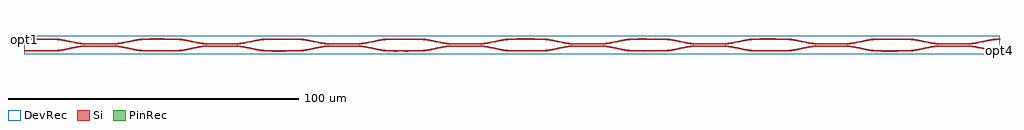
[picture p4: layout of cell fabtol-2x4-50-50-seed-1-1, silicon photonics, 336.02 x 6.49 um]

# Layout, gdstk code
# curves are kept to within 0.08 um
import gdstk
lib = gdstk.Library(unit=1e-6, precision=1e-09)
def R(c, l, rs):  # rectangles x0, y0, x1, y1
    for r in rs: c.add(gdstk.rectangle(r[:2], r[2:], *l))
def P(c, l, *ps):  # polygons
    for p in ps: c.add(gdstk.Polygon(p, *l))
Si = (1, 0)
PinRec = (1, 10)
DevRec = (68, 0)

layer_0_0_phase_sec_0_16 = lib.new_cell('layer-0_0_phase_sec_0$16')
P(layer_0_0_phase_sec_0_16, Si, [(2.372,-0.228),(0,-0.225),(0,0.225),(10,0.225),(10,-0.225)])

dc_arm_down_16 = lib.new_cell('dc_arm_down$16')
R(dc_arm_down_16, Si, [(12,-0.55,20,-0.1)])
P(dc_arm_down_16, Si, [(32,-2.225),(30.861,-2.188),(29.344,-2.033),(22.966,-0.793),(21.481,-0.613),(20,-0.55),(20,-0.1),(21.139,-0.137),(22.656,-0.292),(29.034,-1.532),(30.519,-1.712),(32,-1.775)],
  [(0,-2.225),(0,-1.775),(1.481,-1.712),(2.966,-1.532),(9.344,-0.292),(10.861,-0.137),(12,-0.1),(12,-0.55),(10.519,-0.613),(9.034,-0.793),(2.656,-2.033),(1.139,-2.188)])

dc_arm_up_16 = lib.new_cell('dc_arm_up$16')
R(dc_arm_up_16, Si, [(12,0.1,20,0.55)])
P(dc_arm_up_16, Si, [(20,0.1),(20,0.55),(21.481,0.613),(22.966,0.793),(29.344,2.033),(30.861,2.188),(32,2.225),(32,1.775),(30.519,1.712),(29.034,1.532),(22.656,0.292),(21.139,0.137)],
  [(12,0.1),(10.861,0.137),(9.344,0.292),(2.966,1.532),(1.481,1.712),(0,1.775),(0,2.225),(1.139,2.188),(2.656,2.033),(9.034,0.793),(10.519,0.613),(12,0.55)])

dc_16 = lib.new_cell('dc$16')
dc_16.add(gdstk.Reference(dc_arm_down_16, (0,0)))
dc_16.add(gdstk.Reference(dc_arm_up_16, (0,0)))

layer_3_0_phase_sec_1_16 = lib.new_cell('layer-3_0_phase_sec_1$16')
P(layer_3_0_phase_sec_1_16, Si, [(5.964,-0.234),(0,-0.225),(0,0.225),(10,0.225),(10,-0.225)])

layer_0_0_phase_sec_2_16 = lib.new_cell('layer-0_0_phase_sec_2$16')
P(layer_0_0_phase_sec_2_16, Si, [(6.303,-0.241),(0,-0.225),(0,0.225),(10,0.225),(10,-0.225)])

layer_3_0_phase_sec_3_16 = lib.new_cell('layer-3_0_phase_sec_3$16')
P(layer_3_0_phase_sec_3_16, Si, [(2.714,-0.245),(0,-0.225),(0,0.225),(10,0.225),(10,-0.225)])

layer_1_0_phase_sec_0_16 = lib.new_cell('layer-1_0_phase_sec_0$16')
P(layer_1_0_phase_sec_0_16, Si, [(2.399,-0.232),(0,-0.225),(0,0.225),(10,0.225),(10,-0.225)])

layer_3_0_phase_sec_0_16 = lib.new_cell('layer-3_0_phase_sec_0$16')
P(layer_3_0_phase_sec_0_16, Si, [(2.718,-0.242),(0,-0.225),(0,0.225),(10,0.225),(10,-0.225)])

layer_1_0_phase_sec_1_16 = lib.new_cell('layer-1_0_phase_sec_1$16')
P(layer_1_0_phase_sec_1_16, Si, [(1.22,-0.248),(0,-0.225),(0,0.225),(10,0.225),(10,-0.225)])

layer_1_0_phase_sec_2_16 = lib.new_cell('layer-1_0_phase_sec_2$16')
P(layer_1_0_phase_sec_2_16, Si, [(2.267,-0.235),(0,-0.225),(0,0.225),(10,0.225),(10,-0.225)])

layer_0_0_phase_sec_3_16 = lib.new_cell('layer-0_0_phase_sec_3$16')
P(layer_0_0_phase_sec_3_16, Si, [(3.595,-0.238),(0,-0.225),(0,0.225),(10,0.225),(10,-0.225)])

layer_2_0_phase_sec_2_16 = lib.new_cell('layer-2_0_phase_sec_2$16')
P(layer_2_0_phase_sec_2_16, Si, [(1.481,-0.239),(0,-0.225),(0,0.225),(10,0.225),(10,-0.225)])

layer_3_0_phase_sec_2_16 = lib.new_cell('layer-3_0_phase_sec_2$16')
P(layer_3_0_phase_sec_2_16, Si, [(1.352,-0.233),(0,-0.225),(0,0.225),(10,0.225),(10,-0.225)])

layer_1_0_phase_sec_3_16 = lib.new_cell('layer-1_0_phase_sec_3$16')
P(layer_1_0_phase_sec_3_16, Si, [(5.085,-0.243),(0,-0.225),(0,0.225),(10,0.225),(10,-0.225)])

layer_0_0_phase_sec_1_16 = lib.new_cell('layer-0_0_phase_sec_1$16')
P(layer_0_0_phase_sec_1_16, Si, [(3.105,-0.228),(0,-0.225),(0,0.225),(10,0.225),(10,-0.225)])

layer_2_0_phase_sec_3_16 = lib.new_cell('layer-2_0_phase_sec_3$16')
P(layer_2_0_phase_sec_3_16, Si, [(3.475,-0.241),(0,-0.225),(0,0.225),(10,0.225),(10,-0.225)])

layer_2_0_phase_sec_0_16 = lib.new_cell('layer-2_0_phase_sec_0$16')
P(layer_2_0_phase_sec_0_16, Si, [(1.578,-0.245),(0,-0.225),(0,0.225),(10,0.225),(10,-0.225)])

layer_2_0_phase_sec_1_16 = lib.new_cell('layer-2_0_phase_sec_1$16')
P(layer_2_0_phase_sec_1_16, Si, [(1.563,-0.233),(0,-0.225),(0,0.225),(10,0.225),(10,-0.225)])

fabtol_2x4_50_50_seed_1_ = lib.new_cell('fabtol-2x4-50-50-seed-1-1')
R(fabtol_2x4_50_50_seed_1_, DevRec, [(0,-1,336,5.493)])
fabtol_2x4_50_50_seed_1_.add(gdstk.FlexPath([(335.99,0.248),(336.01,0.248)], 0.45, ends="flush", simple_path=True, layer=1, datatype=10))  # PinRec
fabtol_2x4_50_50_seed_1_.add(gdstk.FlexPath([(335.99,4.248),(336.01,4.248)], 0.45, ends="flush", simple_path=True, layer=1, datatype=10))  # PinRec
fabtol_2x4_50_50_seed_1_.add(gdstk.FlexPath([(0.01,4.248),(-0.01,4.248)], 0.45, ends="flush", simple_path=True, layer=1, datatype=10))  # PinRec
fabtol_2x4_50_50_seed_1_.add(gdstk.Reference(layer_0_0_phase_sec_0_16, (0,4.248)))
fabtol_2x4_50_50_seed_1_.add(gdstk.Reference(dc_16, (10,2.248)))
fabtol_2x4_50_50_seed_1_.add(gdstk.Reference(dc_16, (52,2.248)))
fabtol_2x4_50_50_seed_1_.add(gdstk.Reference(dc_16, (94,2.248)))
fabtol_2x4_50_50_seed_1_.add(gdstk.Reference(dc_16, (136,2.248)))
fabtol_2x4_50_50_seed_1_.add(gdstk.Reference(dc_16, (178,2.248)))
fabtol_2x4_50_50_seed_1_.add(gdstk.Reference(dc_16, (220,2.248)))
fabtol_2x4_50_50_seed_1_.add(gdstk.Reference(dc_16, (262,2.248)))
fabtol_2x4_50_50_seed_1_.add(gdstk.Reference(dc_16, (304,2.248)))
fabtol_2x4_50_50_seed_1_.add(gdstk.Reference(layer_3_0_phase_sec_1_16, (252,0.248)))
fabtol_2x4_50_50_seed_1_.add(gdstk.Reference(layer_0_0_phase_sec_2_16, (42,4.248)))
fabtol_2x4_50_50_seed_1_.add(gdstk.Reference(layer_3_0_phase_sec_3_16, (294,0.248)))
fabtol_2x4_50_50_seed_1_.add(gdstk.Reference(layer_1_0_phase_sec_0_16, (84,4.248)))
fabtol_2x4_50_50_seed_1_.add(gdstk.Reference(layer_3_0_phase_sec_0_16, (252,4.248)))
fabtol_2x4_50_50_seed_1_.add(gdstk.Reference(layer_1_0_phase_sec_1_16, (84,0.248)))
fabtol_2x4_50_50_seed_1_.add(gdstk.Reference(layer_1_0_phase_sec_2_16, (126,4.248)))
fabtol_2x4_50_50_seed_1_.add(gdstk.Reference(layer_0_0_phase_sec_3_16, (42,0.248)))
fabtol_2x4_50_50_seed_1_.add(gdstk.Reference(layer_2_0_phase_sec_2_16, (210,4.248)))
fabtol_2x4_50_50_seed_1_.add(gdstk.Reference(layer_3_0_phase_sec_2_16, (294,4.248)))
fabtol_2x4_50_50_seed_1_.add(gdstk.Reference(layer_1_0_phase_sec_3_16, (126,0.248)))
fabtol_2x4_50_50_seed_1_.add(gdstk.Reference(layer_0_0_phase_sec_1_16, (0,0.248)))
fabtol_2x4_50_50_seed_1_.add(gdstk.Reference(layer_2_0_phase_sec_3_16, (210,0.248)))
fabtol_2x4_50_50_seed_1_.add(gdstk.Reference(layer_2_0_phase_sec_0_16, (168,4.248)))
fabtol_2x4_50_50_seed_1_.add(gdstk.Reference(layer_2_0_phase_sec_1_16, (168,0.248)))
fabtol_2x4_50_50_seed_1_.add(gdstk.Label('opt4', (336,0.248), layer=1, texttype=10))
fabtol_2x4_50_50_seed_1_.add(gdstk.Label('opt3', (336,4.248), layer=1, texttype=10))
fabtol_2x4_50_50_seed_1_.add(gdstk.Label('opt1', (0,4.248), layer=1, texttype=10))

lib.write_gds('fabtol-2x4-50-50-seed-1-1.gds')
